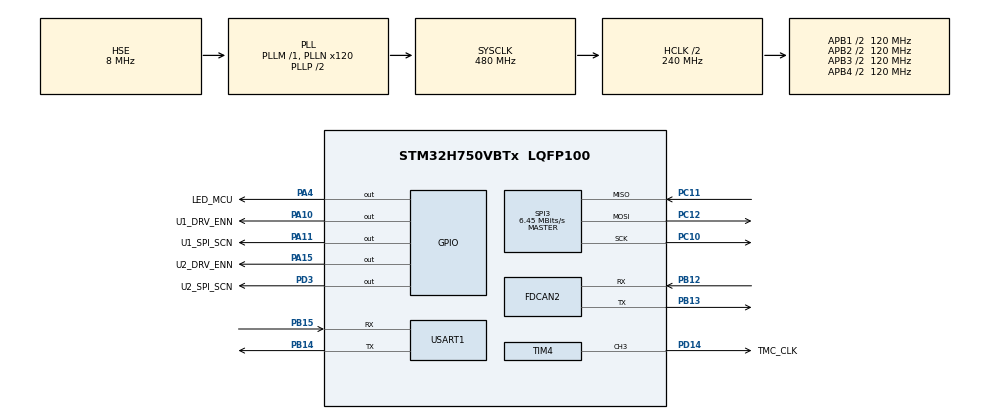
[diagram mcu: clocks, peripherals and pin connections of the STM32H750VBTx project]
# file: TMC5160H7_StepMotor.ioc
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CORTEX_M7.default_mode_Activation=1
FDCAN2.AutoRetransmission=ENABLE
FDCAN2.CalculateBaudRateNominal=500000
FDCAN2.CalculateTimeBitNominal=2000
FDCAN2.CalculateTimeQuantumNominal=125.0
FDCAN2.NominalPrescaler=1
FDCAN2.NominalTimeSeg1=13
FDCAN2.NominalTimeSeg2=2
IWDG1.Prescaler=IWDG_PRESCALER_128
IWDG1.Reload=1249
IWDG1.Window=4095
Mcu.Family=STM32H7
Mcu.Name=STM32H750VBTx
Mcu.Package=LQFP100
NVIC.PriorityGroup=NVIC_PRIORITYGROUP_4
NVIC.TIM1_UP_IRQn=true\:15\:0\:false\:false\:true\:false\:false\:true\:true
NVIC.TimeBase=TIM1_UP_IRQn
NVIC.TimeBaseIP=TIM1
PA10.GPIO_Label=U1_DRV_ENN
PA10.GPIO_Speed=GPIO_SPEED_FREQ_VERY_HIGH
PA10.PinState=GPIO_PIN_SET
PA10.Signal=GPIO_Output
PA11.GPIO_Label=U1_SPI_SCN
PA11.GPIO_Speed=GPIO_SPEED_FREQ_VERY_HIGH
PA11.PinState=GPIO_PIN_SET
PA11.Signal=GPIO_Output
PA13\ (JTMS/SWDIO).Mode=Serial_Wire
PA13\ (JTMS/SWDIO).Signal=DEBUG_JTMS-SWDIO
PA14\ (JTCK/SWCLK).Mode=Serial_Wire
PA14\ (JTCK/SWCLK).Signal=DEBUG_JTCK-SWCLK
PA15\ (JTDI).GPIO_Label=U2_DRV_ENN
PA15\ (JTDI).GPIO_Speed=GPIO_SPEED_FREQ_VERY_HIGH
PA15\ (JTDI).PinState=GPIO_PIN_SET
PA15\ (JTDI).Signal=GPIO_Output
PA4.GPIO_Label=LED_MCU
PA4.PinState=GPIO_PIN_SET
PA4.Signal=GPIO_Output
PB12.Mode=FDCAN_Activate
PB12.Signal=FDCAN2_RX
PB13.Mode=FDCAN_Activate
PB13.Signal=FDCAN2_TX
PB14.Mode=Asynchronous
PB14.Signal=USART1_TX
PB15.Mode=Asynchronous
PB15.Signal=USART1_RX
PC10.GPIO_Speed=GPIO_SPEED_FREQ_VERY_HIGH
PC10.Mode=Full_Duplex_Master
PC10.Signal=SPI3_SCK
PC11.GPIO_Speed=GPIO_SPEED_FREQ_VERY_HIGH
PC11.Mode=Full_Duplex_Master
PC11.Signal=SPI3_MISO
PC12.GPIO_Speed=GPIO_SPEED_FREQ_VERY_HIGH
PC12.Mode=Full_Duplex_Master
PC12.Signal=SPI3_MOSI
PD14.GPIO_Label=TMC_CLK
PD14.GPIO_Speed=GPIO_SPEED_FREQ_VERY_HIGH
PD14.Signal=S_TIM4_CH3
PD3.GPIO_Label=U2_SPI_SCN
PD3.GPIO_Speed=GPIO_SPEED_FREQ_VERY_HIGH
PD3.PinState=GPIO_PIN_SET
PD3.Signal=GPIO_Output
PH0-OSC_IN\ (PH0).Mode=HSE-External-Oscillator
PH0-OSC_IN\ (PH0).Signal=RCC_OSC_IN
PH1-OSC_OUT\ (PH1).Mode=HSE-External-Oscillator
PH1-OSC_OUT\ (PH1).Signal=RCC_OSC_OUT
ProjectManager.HeapSize=0x200
ProjectManager.StackSize=0x400
ProjectManager.TargetToolchain=CMake
RCC.ADCFreq_Value=16125000
RCC.APB1Freq_Value=120000000
RCC.APB2Freq_Value=120000000
RCC.APB3Freq_Value=120000000
RCC.APB4Freq_Value=120000000
RCC.CortexFreq_Value=480000000
RCC.D1PPRE=RCC_APB3_DIV2
RCC.D2PPRE1=RCC_APB1_DIV2
RCC.D2PPRE2=RCC_APB2_DIV2
RCC.D3PPRE=RCC_APB4_DIV2
RCC.DIVM1=1
RCC.DIVM3=5
RCC.DIVN1=120
RCC.FDCANCLockSelection=RCC_FDCANCLKSOURCE_HSE
RCC.HCLKFreq_Value=240000000
RCC.HPRE=RCC_HCLK_DIV2
RCC.HSE_VALUE=8000000
RCC.PLL2FRACN=0
RCC.PLL3FRACN=0
RCC.PLLFRACN=0
RCC.PLLSourceVirtual=RCC_PLLSOURCE_HSE
RCC.PWR_Regulator_Voltage_Scale=PWR_REGULATOR_VOLTAGE_SCALE0
RCC.SPI123CLockSelection=RCC_SPI123CLKSOURCE_PLL3
RCC.SYSCLKFreq_VALUE=480000000
RCC.SYSCLKSource=RCC_SYSCLKSOURCE_PLLCLK
RCC.USART16CLockSelection=RCC_USART16CLKSOURCE_HSI
RCC.USBFreq_Value=480000000
SH.S_TIM4_CH3.0=TIM4_CH3,PWM Generation3 CH3
SPI3.BaudRatePrescaler=SPI_BAUDRATEPRESCALER_16
SPI3.CLKPhase=SPI_PHASE_2EDGE
SPI3.CLKPolarity=SPI_POLARITY_HIGH
SPI3.CalculateBaudRate=6.45 MBits/s
SPI3.DataSize=SPI_DATASIZE_8BIT
SPI3.Direction=SPI_DIRECTION_2LINES
SPI3.Mode=SPI_MODE_MASTER
SPI3.VirtualType=VM_MASTER
TIM4.Channel-PWM\ Generation3\ CH3=TIM_CHANNEL_3
TIM4.Period=15
TIM4.Prescaler=0
TIM4.Pulse-PWM\ Generation3\ CH3=8
USART1.VirtualMode-Asynchronous=VM_ASYNC
VP_FREERTOS_VS_CMSIS_V2.Mode=CMSIS_V2
VP_IWDG1_VS_IWDG.Mode=IWDG_Activate
VP_MEMORYMAP_VS_MEMORYMAP.Mode=CurAppReg
VP_SYS_VS_tim1.Mode=TIM1
VP_TIM4_VS_ClockSourceINT.Mode=Internal
board=custom

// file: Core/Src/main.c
/* USER CODE BEGIN Header */
/**
  ******************************************************************************
  * @file           : main.c
  * @brief          : Main program body
  ******************************************************************************
  * @attention
  *
  * Copyright (c) 2026 STMicroelectronics.
  * All rights reserved.
  *
  * This software is licensed under terms that can be found in the LICENSE file
  * in the root directory of this software component.
  * If no LICENSE file comes with this software, it is provided AS-IS.
  *
  ******************************************************************************
  */
/* USER CODE END Header */
#include "main.h"
#include "FreeRTOS.h"
#include "cmsis_os2.h"
#include "fdcan.h"
#include "iwdg.h"
#include "spi.h"
#include "tim.h"
#include "usart.h"
#include "gpio.h"

/* USER CODE BEGIN Includes */
#include "algo/queue.h"
#include "hal/can.h"
#include "hal/uart_dbg.h"
#include "hal/rtt_dbg.h"
#include "hal/wdg.h"
#include "drv/tmc5160.h"
#include "app/motor_ctrl.h"
#include "app/closed_loop.h"
#include "app/homing.h"
#include "app/sched.h"
#include "comm_test.h"
#include "tim_test.h"
#include "aging_test.h"
/* USER CODE END Includes */

/* USER CODE BEGIN PV */
/* 闭环节拍标志：预留（目标板无 TIM7，闭环 Tick 暂未启用，与源工程行为等价） */
volatile uint8_t g_cl_tick_flag = 0;
/* USER CODE END PV */

void SystemClock_Config(void);
static void MPU_Config(void);
void MX_FREERTOS_Init(void);

int main(void)
{

  /* MPU Configuration--------------------------------------------------------*/
  MPU_Config();

  /* MCU Configuration--------------------------------------------------------*/

  /* Reset of all peripherals, Initializes the Flash interface and the Systick. */
  HAL_Init();

  /* Configure the system clock */
  SystemClock_Config();

  /* Initialize all configured peripherals */
  MX_GPIO_Init();
  MX_FDCAN2_Init();
  MX_SPI3_Init();
  MX_TIM4_Init();
  MX_USART1_UART_Init();
  MX_IWDG1_Init();
  /* USER CODE BEGIN 2 */
  /* TMC5160 外部时钟: TIM4_CH3 PWM 输出 15MHz (TIM4CLK=240MHz/(PSC=0)/(ARR=15+1))
   * 必须在 TMC5160_Init 前启动，否则芯片无 fCLK 不工作 */
  HAL_TIM_PWM_Start(&htim4, TIM_CHANNEL_3);

  QUEUE_Init(&g_queue_st);
  CAN_Init();
  TMC5160_Init();
  MOTOR_Init();
  CLOSEDLOOP_Init();
  SCHED_Init(); /* RTOS 任务间快照/补步信箱（osKernelStart 前初始化） */
  HOME_Init();  /* 校准状态置未校准（回零前禁止运动） */
  /* 上电免回零（调试/无挡板台架）：上电位置设零点并置已校准；
   * 删除本行即恢复"上电未校准、须先回零"的生产模式 */
  HOME_ZeroAtPowerUp();
  UART_DBG_Init();
  RTT_DBG_Init(); /* RTT 初始化（J-Link RTT Viewer 调试回传） */
  UART_DBG_Str("UART ready 115200\r\n");
  RTT_DBG_Str("RTT ready\r\n");
  UART_DBG_Str("[BOOT] TMC5160H7 StepMotor\r\n");
  RTT_DBG_Str("[BOOT] TMC5160H7 StepMotor\r\n");
#if WDG_ENABLE
  /* 看门狗启动（2026-09-20：锁存复位源→打印→清标志→IWDG 启动，超时标称约 5s；
   * 须 RTT/UART 就绪后调用；实现见 module/hal/wdg.c） */
  WDG_Init();
#endif
#ifdef CL_TIMING_MEASURE
  TEST_TIM_Init();
  TEST_SPI_SaleaeTriggerInit();
  UART_DBG_Str("[SALEAE] 3-wire SCK PC10 MOSI PC12 MISO PC11 TRIG PA4\r\n");
#endif

  /* 上电测试钩子已删除（2026-09-22 清场）：SPI_* 判据钩子归档删，老化走 PCAN 脚本 */

#if CL_AGING_TEST
  /* 内建老化/整体自测（pre-RTOS 阻塞；受 config.h CL_AGING_TEST/CL_AG_TEST_MASK 门控；
   * 期间无 CAN、仅 RTT；实现见 test/aging_test.c） */
  AGING_SelfTest();
#endif

  /* USER CODE END 2 */

  /* Init scheduler */
  osKernelInitialize();  /* Call init function for freertos objects (in cmsis_os2.c) */
  MX_FREERTOS_Init();

  /* Start scheduler */
  osKernelStart();

  /* We should never get here as control is now taken by the scheduler */

  /* Infinite loop */
  while (1)
  {

  }
}

void SystemClock_Config(void)
{
  RCC_OscInitTypeDef RCC_OscInitStruct = {0};
  RCC_ClkInitTypeDef RCC_ClkInitStruct = {0};

  /** Supply configuration update enable
  */
  HAL_PWREx_ConfigSupply(PWR_LDO_SUPPLY);

  /** Configure the main internal regulator output voltage
  */
  __HAL_PWR_VOLTAGESCALING_CONFIG(PWR_REGULATOR_VOLTAGE_SCALE0);

  while(!__HAL_PWR_GET_FLAG(PWR_FLAG_VOSRDY)) {}

  /** Initializes the RCC Oscillators according to the specified parameters
  * in the RCC_OscInitTypeDef structure.
  */
  RCC_OscInitStruct.OscillatorType = RCC_OSCILLATORTYPE_HSI|RCC_OSCILLATORTYPE_LSI
                              |RCC_OSCILLATORTYPE_HSE;
  RCC_OscInitStruct.HSEState = RCC_HSE_ON;
  RCC_OscInitStruct.HSIState = RCC_HSI_DIV1;
  RCC_OscInitStruct.HSICalibrationValue = RCC_HSICALIBRATION_DEFAULT;
  RCC_OscInitStruct.LSIState = RCC_LSI_ON;
  RCC_OscInitStruct.PLL.PLLState = RCC_PLL_ON;
  RCC_OscInitStruct.PLL.PLLSource = RCC_PLLSOURCE_HSE;
  RCC_OscInitStruct.PLL.PLLM = 1;
  RCC_OscInitStruct.PLL.PLLN = 120;
  RCC_OscInitStruct.PLL.PLLP = 2;
  RCC_OscInitStruct.PLL.PLLQ = 2;
  RCC_OscInitStruct.PLL.PLLR = 2;
  RCC_OscInitStruct.PLL.PLLRGE = RCC_PLL1VCIRANGE_3;
  RCC_OscInitStruct.PLL.PLLVCOSEL = RCC_PLL1VCOWIDE;
  RCC_OscInitStruct.PLL.PLLFRACN = 0;
  if (HAL_RCC_OscConfig(&RCC_OscInitStruct) != HAL_OK)
  {
    Error_Handler();
  }

  /** Initializes the CPU, AHB and APB buses clocks
  */
  RCC_ClkInitStruct.ClockType = RCC_CLOCKTYPE_HCLK|RCC_CLOCKTYPE_SYSCLK
                              |RCC_CLOCKTYPE_PCLK1|RCC_CLOCKTYPE_PCLK2
                              |RCC_CLOCKTYPE_D3PCLK1|RCC_CLOCKTYPE_D1PCLK1;
  RCC_ClkInitStruct.SYSCLKSource = RCC_SYSCLKSOURCE_PLLCLK;
  RCC_ClkInitStruct.SYSCLKDivider = RCC_SYSCLK_DIV1;
  RCC_ClkInitStruct.AHBCLKDivider = RCC_HCLK_DIV2;
  RCC_ClkInitStruct.APB3CLKDivider = RCC_APB3_DIV2;
  RCC_ClkInitStruct.APB1CLKDivider = RCC_APB1_DIV2;
  RCC_ClkInitStruct.APB2CLKDivider = RCC_APB2_DIV2;
  RCC_ClkInitStruct.APB4CLKDivider = RCC_APB4_DIV2;

  if (HAL_RCC_ClockConfig(&RCC_ClkInitStruct, FLASH_LATENCY_4) != HAL_OK)
  {
    Error_Handler();
  }
}

 /* MPU Configuration */

void MPU_Config(void)
{
  MPU_Region_InitTypeDef MPU_InitStruct = {0};

  /* Disables the MPU */
  HAL_MPU_Disable();

  /** Initializes and configures the Region and the memory to be protected
  */
  MPU_InitStruct.Enable = MPU_REGION_ENABLE;
  MPU_InitStruct.Number = MPU_REGION_NUMBER0;
  MPU_InitStruct.BaseAddress = 0x0;
  MPU_InitStruct.Size = MPU_REGION_SIZE_4GB;
  MPU_InitStruct.SubRegionDisable = 0x87;
  MPU_InitStruct.TypeExtField = MPU_TEX_LEVEL0;
  MPU_InitStruct.AccessPermission = MPU_REGION_NO_ACCESS;
  MPU_InitStruct.DisableExec = MPU_INSTRUCTION_ACCESS_DISABLE;
  MPU_InitStruct.IsShareable = MPU_ACCESS_SHAREABLE;
  MPU_InitStruct.IsCacheable = MPU_ACCESS_NOT_CACHEABLE;
  MPU_InitStruct.IsBufferable = MPU_ACCESS_NOT_BUFFERABLE;

  HAL_MPU_ConfigRegion(&MPU_InitStruct);
  /* Enables the MPU */
  HAL_MPU_Enable(MPU_PRIVILEGED_DEFAULT);

}

void HAL_TIM_PeriodElapsedCallback(TIM_HandleTypeDef *htim)
{
  if (htim->Instance == TIM1)
  {
    HAL_IncTick();
  }
}

void Error_Handler(void)
{
  __disable_irq();
  while (1)
  {
  }
}

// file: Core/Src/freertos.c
/* USER CODE BEGIN Header */
/**
  ******************************************************************************
  * File Name          : freertos.c
  * Description        : Code for freertos applications
  ******************************************************************************
  * @attention
  *
  * Copyright (c) 2026 STMicroelectronics.
  * All rights reserved.
  *
  * This software is licensed under terms that can be found in the LICENSE file
  * in the root directory of this software component.
  * If no LICENSE file comes with this software, it is provided AS-IS.
  *
  ******************************************************************************
  */
/* USER CODE END Header */

#include "FreeRTOS.h"
#include "task.h"
#include "main.h"
#include "FreeRTOS.h"
#include "cmsis_os2.h"

/* USER CODE BEGIN Includes */
#include "app/tasks.h"
/* USER CODE END Includes */

void MX_FREERTOS_Init(void); /* (MISRA C 2004 rule 8.1) */

void MX_FREERTOS_Init(void) {

  /* Create the thread(s) */
  /* USER CODE BEGIN RTOS_THREADS */
  /* 创建应用任务（ctrl/closedLoop/tmr/wdg，定义见 module/app/tasks.c）
   * 2026-09-22 RTOS 移植：原 CubeMX defaultTask 已移除（无业务） */
  TASKS_Init();
  /* USER CODE END RTOS_THREADS */

}
